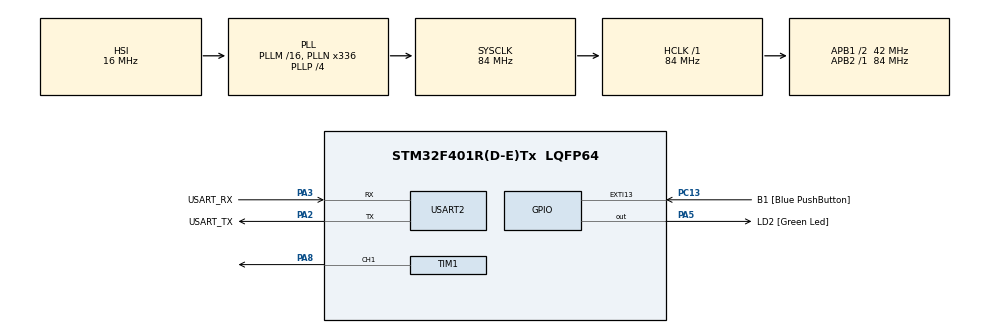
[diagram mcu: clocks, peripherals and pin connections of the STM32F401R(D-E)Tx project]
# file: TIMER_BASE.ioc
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Mcu.Family=STM32F4
Mcu.Name=STM32F401R(D-E)Tx
Mcu.Package=LQFP64
NVIC.PriorityGroup=NVIC_PRIORITYGROUP_0
NVIC.TIM1_UP_TIM10_IRQn=true\:0\:0\:false\:false\:true\:true\:true
PA13.GPIO_Label=TMS
PA13.Mode=Trace_Asynchronous_SW
PA13.Signal=SYS_JTMS-SWDIO
PA14.GPIO_Label=TCK
PA14.Mode=Trace_Asynchronous_SW
PA14.Signal=SYS_JTCK-SWCLK
PA2.GPIO_Label=USART_TX
PA2.GPIO_Mode=GPIO_MODE_AF_PP
PA2.GPIO_PuPd=GPIO_NOPULL
PA2.GPIO_Speed=GPIO_SPEED_FREQ_LOW
PA2.Mode=Asynchronous
PA2.Signal=USART2_TX
PA3.GPIO_Label=USART_RX
PA3.GPIO_Mode=GPIO_MODE_AF_PP
PA3.GPIO_PuPd=GPIO_NOPULL
PA3.GPIO_Speed=GPIO_SPEED_FREQ_LOW
PA3.Mode=Asynchronous
PA3.Signal=USART2_RX
PA5.GPIO_Label=LD2 [Green Led]
PA5.GPIO_Mode=GPIO_MODE_OUTPUT_PP
PA5.GPIO_PuPd=GPIO_NOPULL
PA5.GPIO_Speed=GPIO_SPEED_FREQ_LOW
PA5.Signal=GPIO_Output
PA8.Signal=S_TIM1_CH1
PB3.GPIO_Label=SWO
PB3.Mode=Trace_Asynchronous_SW
PB3.Signal=SYS_JTDO-SWO
PC13-ANTI_TAMP.GPIO_Label=B1 [Blue PushButton]
PC13-ANTI_TAMP.GPIO_ModeDefaultEXTI=GPIO_MODE_IT_FALLING
PC13-ANTI_TAMP.GPIO_PuPd=GPIO_NOPULL
PC13-ANTI_TAMP.Signal=GPXTI13
PC14-OSC32_IN.Mode=LSE-External-Oscillator
PC14-OSC32_IN.Signal=RCC_OSC32_IN
PC15-OSC32_OUT.Mode=LSE-External-Oscillator
PC15-OSC32_OUT.Signal=RCC_OSC32_OUT
PH0\ -\ OSC_IN.Mode=HSE-External-Clock-Source
PH0\ -\ OSC_IN.Signal=RCC_OSC_IN
PH1\ -\ OSC_OUT.Mode=HSE-External-Clock-Source
PH1\ -\ OSC_OUT.Signal=RCC_OSC_OUT
ProjectManager.HeapSize=0x200
ProjectManager.StackSize=0x400
ProjectManager.TargetToolchain=STM32CubeIDE
RCC.48MHZClocksFreq_Value=48000000
RCC.AHBFreq_Value=84000000
RCC.APB1CLKDivider=RCC_HCLK_DIV2
RCC.APB1Freq_Value=42000000
RCC.APB1TimFreq_Value=84000000
RCC.APB2Freq_Value=84000000
RCC.APB2TimFreq_Value=84000000
RCC.CortexFreq_Value=84000000
RCC.HCLKFreq_Value=84000000
RCC.HSE_VALUE=8000000
RCC.HSI_VALUE=16000000
RCC.PLLN=336
RCC.PLLP=RCC_PLLP_DIV4
RCC.PLLQ=7
RCC.SYSCLKFreq_VALUE=84000000
RCC.SYSCLKSource=RCC_SYSCLKSOURCE_PLLCLK
RCC.VCOOutputFreq_Value=336000000
SH.S_TIM1_CH1.0=TIM1_CH1,Output Compare1 CH1
TIM1.Channel-Output\ Compare1\ CH1=TIM_CHANNEL_1
TIM1.Period=10000
TIM1.Prescaler=8400
USART2.Parity=PARITY_NONE
USART2.VirtualMode=VM_ASYNC
board=NUCLEO-F401RE

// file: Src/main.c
/* USER CODE BEGIN Header */
/**
  ******************************************************************************
  * @file           : main.c
  * @brief          : Main program body
  ******************************************************************************
  * @attention
  *
  * <h2><center>&copy; Copyright (c) 2020 STMicroelectronics.
  * All rights reserved.</center></h2>
  *
  * This software component is licensed by ST under BSD 3-Clause license,
  * the "License"; You may not use this file except in compliance with the
  * License. You may obtain a copy of the License at:
  *                        opensource.org/licenses/BSD-3-Clause
  *
  ******************************************************************************
  */
/* USER CODE END Header */

#include "main.h"

/* USER CODE BEGIN Includes */
#include <stdio.h>
/* USER CODE END Includes */

/* USER CODE BEGIN PTD */
typedef enum {
	AM, //Ante Meridiem
	PM  //Post Meridiem
}_Meridiem;
/* USER CODE END PTD */

/* USER CODE BEGIN PD */
#define TIM (&htim1)
#define TIM_CH_1 TIM_CHANNEL_1
/* USER CODE END PD */

TIM_HandleTypeDef htim1;

UART_HandleTypeDef huart2;

/* USER CODE BEGIN PV */
uint8_t hour = 11;
uint8_t min1 = 5;
uint8_t min2 = 9;
uint8_t sec1 = 5;
uint8_t sec2 = 0;
_Meridiem Meridiem = AM;
/* USER CODE END PV */

void SystemClock_Config(void);
static void MX_GPIO_Init(void);
static void MX_USART2_UART_Init(void);
static void MX_TIM1_Init(void);

int main(void)
{

  /* MCU Configuration--------------------------------------------------------*/

  /* Reset of all peripherals, Initializes the Flash interface and the Systick. */
  HAL_Init();

  /* Configure the system clock */
  SystemClock_Config();

  /* Initialize all configured peripherals */
  MX_GPIO_Init();
  MX_USART2_UART_Init();
  MX_TIM1_Init();
  /* USER CODE BEGIN 2 */
  printf("Clock Start 2\r\n");
  HAL_Delay(1000);
  printf("Clock Start 1\r\n");
  HAL_Delay(1000);
  printf("Clock Start 0\r\n");
  HAL_Delay(1000);
  HAL_TIM_Base_Start_IT(TIM);
  /* USER CODE END 2 */

  /* Infinite loop */
  while (1)
  {

  }
}

void SystemClock_Config(void)
{
  RCC_OscInitTypeDef RCC_OscInitStruct = {0};
  RCC_ClkInitTypeDef RCC_ClkInitStruct = {0};

  /** Configure the main internal regulator output voltage
  */
  __HAL_RCC_PWR_CLK_ENABLE();
  __HAL_PWR_VOLTAGESCALING_CONFIG(PWR_REGULATOR_VOLTAGE_SCALE2);
  /** Initializes the CPU, AHB and APB busses clocks
  */
  RCC_OscInitStruct.OscillatorType = RCC_OSCILLATORTYPE_HSI;
  RCC_OscInitStruct.HSIState = RCC_HSI_ON;
  RCC_OscInitStruct.HSICalibrationValue = RCC_HSICALIBRATION_DEFAULT;
  RCC_OscInitStruct.PLL.PLLState = RCC_PLL_ON;
  RCC_OscInitStruct.PLL.PLLSource = RCC_PLLSOURCE_HSI;
  RCC_OscInitStruct.PLL.PLLM = 16;
  RCC_OscInitStruct.PLL.PLLN = 336;
  RCC_OscInitStruct.PLL.PLLP = RCC_PLLP_DIV4;
  RCC_OscInitStruct.PLL.PLLQ = 7;
  if (HAL_RCC_OscConfig(&RCC_OscInitStruct) != HAL_OK)
  {
    Error_Handler();
  }
  /** Initializes the CPU, AHB and APB busses clocks
  */
  RCC_ClkInitStruct.ClockType = RCC_CLOCKTYPE_HCLK|RCC_CLOCKTYPE_SYSCLK
                              |RCC_CLOCKTYPE_PCLK1|RCC_CLOCKTYPE_PCLK2;
  RCC_ClkInitStruct.SYSCLKSource = RCC_SYSCLKSOURCE_PLLCLK;
  RCC_ClkInitStruct.AHBCLKDivider = RCC_SYSCLK_DIV1;
  RCC_ClkInitStruct.APB1CLKDivider = RCC_HCLK_DIV2;
  RCC_ClkInitStruct.APB2CLKDivider = RCC_HCLK_DIV1;

  if (HAL_RCC_ClockConfig(&RCC_ClkInitStruct, FLASH_LATENCY_2) != HAL_OK)
  {
    Error_Handler();
  }
}

static void MX_TIM1_Init(void)
{

  TIM_MasterConfigTypeDef sMasterConfig = {0};
  TIM_OC_InitTypeDef sConfigOC = {0};
  TIM_BreakDeadTimeConfigTypeDef sBreakDeadTimeConfig = {0};

  htim1.Instance = TIM1;
  htim1.Init.Prescaler = 8400;
  htim1.Init.CounterMode = TIM_COUNTERMODE_UP;
  htim1.Init.Period = 10000;
  htim1.Init.ClockDivision = TIM_CLOCKDIVISION_DIV1;
  htim1.Init.RepetitionCounter = 0;
  htim1.Init.AutoReloadPreload = TIM_AUTORELOAD_PRELOAD_DISABLE;
  if (HAL_TIM_OC_Init(&htim1) != HAL_OK)
  {
    Error_Handler();
  }
  sMasterConfig.MasterOutputTrigger = TIM_TRGO_RESET;
  sMasterConfig.MasterSlaveMode = TIM_MASTERSLAVEMODE_DISABLE;
  if (HAL_TIMEx_MasterConfigSynchronization(&htim1, &sMasterConfig) != HAL_OK)
  {
    Error_Handler();
  }
  sConfigOC.OCMode = TIM_OCMODE_TIMING;
  sConfigOC.Pulse = 0;
  sConfigOC.OCPolarity = TIM_OCPOLARITY_HIGH;
  sConfigOC.OCNPolarity = TIM_OCNPOLARITY_HIGH;
  sConfigOC.OCFastMode = TIM_OCFAST_DISABLE;
  sConfigOC.OCIdleState = TIM_OCIDLESTATE_RESET;
  sConfigOC.OCNIdleState = TIM_OCNIDLESTATE_RESET;
  if (HAL_TIM_OC_ConfigChannel(&htim1, &sConfigOC, TIM_CHANNEL_1) != HAL_OK)
  {
    Error_Handler();
  }
  sBreakDeadTimeConfig.OffStateRunMode = TIM_OSSR_DISABLE;
  sBreakDeadTimeConfig.OffStateIDLEMode = TIM_OSSI_DISABLE;
  sBreakDeadTimeConfig.LockLevel = TIM_LOCKLEVEL_OFF;
  sBreakDeadTimeConfig.DeadTime = 0;
  sBreakDeadTimeConfig.BreakState = TIM_BREAK_DISABLE;
  sBreakDeadTimeConfig.BreakPolarity = TIM_BREAKPOLARITY_HIGH;
  sBreakDeadTimeConfig.AutomaticOutput = TIM_AUTOMATICOUTPUT_DISABLE;
  if (HAL_TIMEx_ConfigBreakDeadTime(&htim1, &sBreakDeadTimeConfig) != HAL_OK)
  {
    Error_Handler();
  }
  HAL_TIM_MspPostInit(&htim1);

}

static void MX_USART2_UART_Init(void)
{

  huart2.Instance = USART2;
  huart2.Init.BaudRate = 115200;
  huart2.Init.WordLength = UART_WORDLENGTH_8B;
  huart2.Init.StopBits = UART_STOPBITS_1;
  huart2.Init.Parity = UART_PARITY_NONE;
  huart2.Init.Mode = UART_MODE_TX_RX;
  huart2.Init.HwFlowCtl = UART_HWCONTROL_NONE;
  huart2.Init.OverSampling = UART_OVERSAMPLING_16;
  if (HAL_UART_Init(&huart2) != HAL_OK)
  {
    Error_Handler();
  }

}

static void MX_GPIO_Init(void)
{
  GPIO_InitTypeDef GPIO_InitStruct = {0};

  /* GPIO Ports Clock Enable */
  __HAL_RCC_GPIOC_CLK_ENABLE();
  __HAL_RCC_GPIOH_CLK_ENABLE();
  __HAL_RCC_GPIOA_CLK_ENABLE();
  __HAL_RCC_GPIOB_CLK_ENABLE();

  /*Configure GPIO pin Output Level */
  HAL_GPIO_WritePin(LD2_GPIO_Port, LD2_Pin, GPIO_PIN_RESET);

  /*Configure GPIO pin : B1_Pin */
  GPIO_InitStruct.Pin = B1_Pin;
  GPIO_InitStruct.Mode = GPIO_MODE_IT_FALLING;
  GPIO_InitStruct.Pull = GPIO_NOPULL;
  HAL_GPIO_Init(B1_GPIO_Port, &GPIO_InitStruct);

  /*Configure GPIO pin : LD2_Pin */
  GPIO_InitStruct.Pin = LD2_Pin;
  GPIO_InitStruct.Mode = GPIO_MODE_OUTPUT_PP;
  GPIO_InitStruct.Pull = GPIO_NOPULL;
  GPIO_InitStruct.Speed = GPIO_SPEED_FREQ_LOW;
  HAL_GPIO_Init(LD2_GPIO_Port, &GPIO_InitStruct);

}

/* USER CODE BEGIN 4 */
/*int __io_putchar(int ch){

	return ITM_SendChar(ch);
}*/
int __io_putchar(int ch)
{
	uint8_t buf[2];
	buf[0] = (uint8_t)ch;
	return HAL_UART_Transmit(&huart2, buf, 1, 100);
}
void HAL_TIM_PeriodElapsedCallback(TIM_HandleTypeDef *htim){
		sec2++;
		if(!(sec2 %= 10)){
			sec1++;
			if(!(sec1 %= 6)){
				min2++;
				if(!(min2 %= 10)){
					min1++;
					if(!(min1 %= 6)){
						hour++;
						if(!(hour %= 12)){
							Meridiem = !Meridiem;
						}
					}

				}
			}
		}
		if(Meridiem == AM){
			printf("%d:%d%d:%d%d AM\r\n", hour, min1, min2, sec1, sec2);
		}
		else if(Meridiem == PM){
			printf("%d:%d%d:%d%d PM\r\n", hour, min1, min2, sec1, sec2);
		}
}

/* USER CODE END 4 */

void Error_Handler(void)
{
}

/************************ (C) COPYRIGHT STMicroelectronics *****END OF FILE****/
